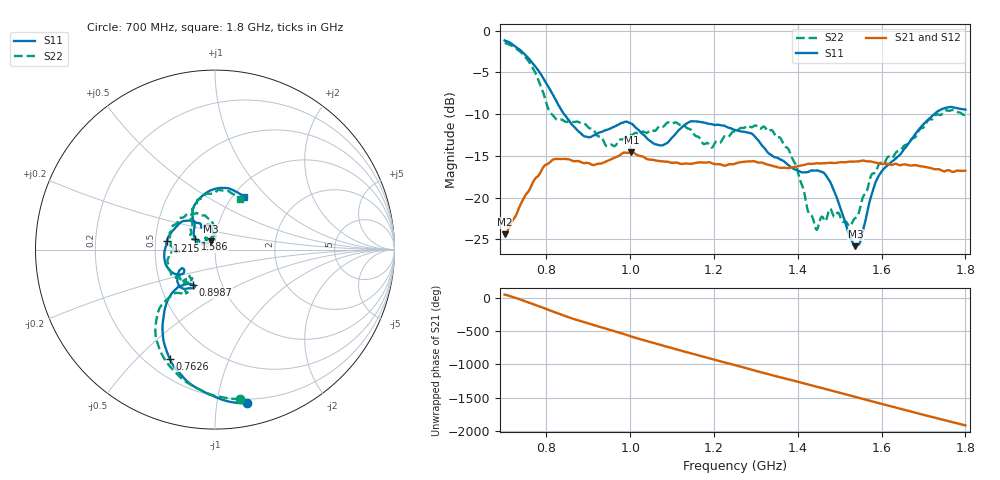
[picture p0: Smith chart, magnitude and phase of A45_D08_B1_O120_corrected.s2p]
! Created with skrf 1.9.0 (http://scikit-rf.org).
# Hz S RI R 50.0
!freq ReS11 ImS11 ReS21 ImS21 ReS12 ImS12 ReS22 ImS22
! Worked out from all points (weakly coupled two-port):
!   1601 points, 700 MHz to 1.8 GHz, reference 50 ohm
!   highest |S21| = -14.54 dB at 1.002 GHz (marker M1); lowest = -24.4 dB at 700.7 MHz (marker M2)
!   lowest |S11| = -25.8 dB at 1.537 GHz (marker M3), VSWR 1.11, Z = 47.5 + j4.31 ohm
!   |S11| at or under -10 dB: 842 MHz to 1.726 GHz (883.5 MHz wide, 68.8 % of centre)
!   |S22| runs from -23.9 to -1.5 dB; largest |S21 - S12| = 0.0035
!   S11 on the Smith chart (normalised r, x): 700 MHz: 0.17, -1.21; 762.6 MHz: 0.29, -0.63; 898.7 MHz: 0.73, -0.30; 1.215 GHz: 0.58, +0.06; 1.586 GHz: 0.80, +0.10; 1.8 GHz: 1.12, +0.75
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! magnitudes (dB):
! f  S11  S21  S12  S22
! 700 MHz  -1.2  -24.4  -24.2  -1.5
! 700.7 MHz  -1.2  -24.4  -24.1  -1.5
! 762.6 MHz  -3.6  -18.7  -18.7  -4.1
! 818.2 MHz  -7.9  -15.4  -15.5  -10.3
! 883.6 MHz  -12.4  -15.8  -15.7  -11.1
! 898.7 MHz  -12.8  -15.8  -15.9  -11.5
! 944.8 MHz  -11.9  -15.6  -15.6  -13.8
! 1.002 GHz  -11.1  -14.5  -14.6  -12.5
! 1.067 GHz  -13.7  -15.6  -15.6  -11.5
! 1.143 GHz  -10.9  -16.0  -15.9  -11.8
! 1.215 GHz  -11.3  -16.0  -16.0  -13.4
! 1.25 GHz  -11.9  -15.9  -15.9  -12.1
! 1.359 GHz  -15.4  -16.4  -16.4  -12.9
! 1.394 GHz  -16.7  -16.3  -16.3  -16.0
! 1.434 GHz  -16.7  -16.0  -15.9  -22.2
! 1.445 GHz  -16.7  -15.9  -15.9  -23.9
! 1.475 GHz  -17.9  -15.8  -15.8  -21.4
! 1.537 GHz  -25.8  -15.7  -15.7  -22.4
! 1.586 GHz  -18.1  -15.8  -15.8  -16.9
! 1.617 GHz  -16.0  -16.0  -15.9  -15.1
! 1.733 GHz  -9.7  -16.6  -16.6  -10.0
! 1.8 GHz  -9.5  -16.8  -16.8  -10.1
